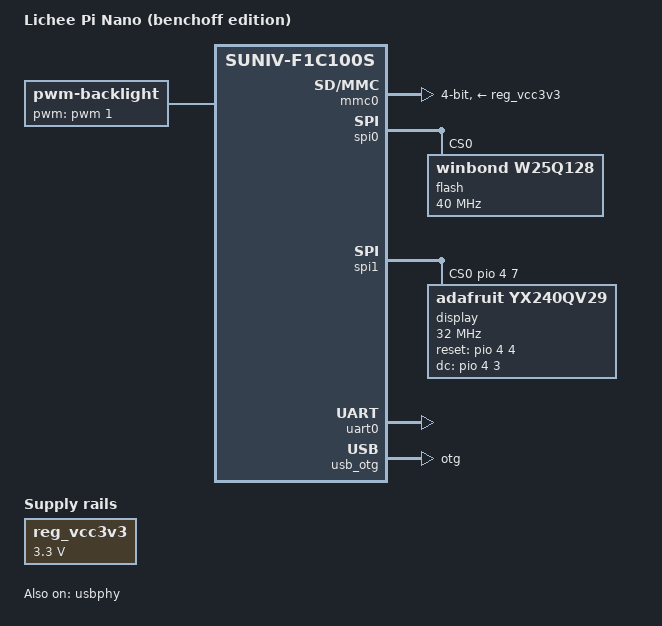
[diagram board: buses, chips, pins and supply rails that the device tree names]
// SPDX-License-Identifier: (GPL-2.0+ OR X11)
/*
 * Copyright 2018 Icenowy Zheng <icenowy@aosc.io>
 */

/dts-v1/;
#include "suniv-f1c100s.dtsi"

#include <dt-bindings/gpio/gpio.h>

/ {
	model = "Lichee Pi Nano (benchoff edition)";
	compatible = "licheepi,licheepi-nano", "allwinner,suniv-f1c100s";

	aliases {
		serial0 = &uart0;
		spi0 = &spi0;
		spi1 = &spi1;
	};

	chosen {
		stdout-path = "serial0:115200n8";
	};

	reg_vcc3v3: vcc3v3 {
		compatible = "regulator-fixed";
		regulator-name = "vcc3v3";
		regulator-min-microvolt = <3300000>;
		regulator-max-microvolt = <3300000>;
	};

	backlight: backlight {
	compatible = "pwm-backlight";
	pwms = <&pwm 1 50000 0>;
	brightness-levels = <0 4 8 16 32 64 128 255>;
	default-brightness-level = <8>;
	};
};

&mmc0 {
	vmmc-supply = <&reg_vcc3v3>;
	bus-width = <4>;
	broken-cd;
	status = "okay";
};

&otg_sram {
	status = "okay";
};

&spi0 {
	pinctrl-names = "default";
	pinctrl-0 = <&spi0_pins_a>;
	status = "okay";

	flash@0 {
		#address-cells = <1>;
		#size-cells = <1>;
		compatible = "winbond,w25q128", "jedec,spi-nor";
		reg = <0>;
		spi-max-frequency = <40000000>;
	};
};

&spi1 {
	pinctrl-names = "default";
	pinctrl-0 = <&spi1_pins_a &spi1_pins_a_gpio>;
	pinctrl-1 = <&spi1_pins_a &spi1_pins_a_gpio>;
	pinctrl-2 = <&spi1_pins_a &spi1_pins_a_gpio>;
	status = "okay";

	num-cs = <1>;
	cs-gpios = <&pio 4 7 0>; //PE7 as GPIO CS

	display: display@0{
		compatible = "adafruit,yx240qv29", "ilitek,ili9341";
		reg = <0>; // Chip Select 0

		spi-max-frequency = <32000000>; // 32MHz
		reset-gpios = <&pio 4 4 GPIO_ACTIVE_HIGH>; //PE4
		dc-gpios = <&pio 4 3 GPIO_ACTIVE_HIGH>; //PE3
		//led-gpios = <&pio 4 6 GPIO_ACTIVE_HIGH>; //PE6

		rotation = <0>;
	};
};

&uart0 {
	pinctrl-names = "default";
	pinctrl-0 = <&uart0_pe_pins>;
	status = "okay";
};

&usb_otg {
	dr_mode = "otg";
	status = "okay";
};

&usbphy {
	usb0_id_det-gpio = <&pio 4 2 GPIO_ACTIVE_HIGH>; /* PE2 */
	status = "okay";
};
